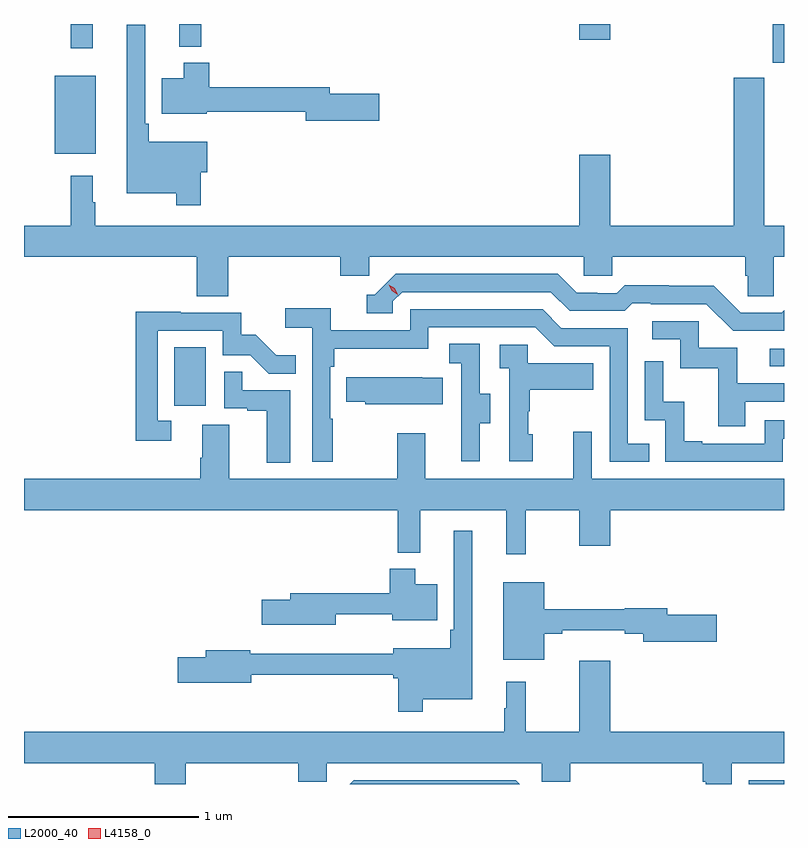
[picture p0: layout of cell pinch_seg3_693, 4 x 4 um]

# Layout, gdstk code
import gdstk
lib = gdstk.Library(unit=1e-6, precision=1e-09)
def R(c, l, rs):  # rectangles x0, y0, x1, y1
    for r in rs: c.add(gdstk.rectangle(r[:2], r[2:], *l))
def P(c, l, *ps):  # polygons
    for p in ps: c.add(gdstk.Polygon(p, *l))
L2000_40 = (2000, 40)
L4158_0 = (4158, 0)

pinch_seg3_693 = lib.new_cell('pinch_seg3_693')
R(pinch_seg3_693, L2000_40, [(1100.964,679.494,1101.15,679.515), (1097.942,681.486,1098.106,681.793), (1101.075,681.693,1101.15,681.786), (1097.312,682.811,1097.527,683.221), (1101.092,683.291,1101.15,683.494), (1097.395,683.367,1097.513,683.494), (1097.966,683.375,1098.083,683.494), (1100.072,683.412,1100.236,683.494)])
P(pinch_seg3_693, L2000_40, [(1098.08,682.715),(1098.115,682.715),(1098.115,682.873),(1097.807,682.873),(1097.807,682.969),(1097.787,682.969),(1097.787,683.491),(1097.69,683.491),(1097.69,682.604),(1097.952,682.604),(1097.952,682.539),(1098.08,682.539)],
  [(1099.021,683.127),(1098.76,683.127),(1098.76,683.161),(1098.125,683.161),(1098.125,683.29),(1097.99,683.29),(1097.99,683.209),(1097.876,683.209),(1097.876,683.021),(1098.112,683.021),(1098.112,683.032),(1098.632,683.032),(1098.632,682.985),(1099.021,682.985)],
  [(1098.224,682.268),(1098.815,682.268),(1098.815,682.17),(1098.966,682.17),(1098.966,682.268),(1100.097,682.268),(1100.097,682.17),(1100.247,682.17),(1100.247,682.268),(1100.945,682.268),(1100.945,682.17),(1100.959,682.17),(1100.959,682.06),(1101.096,682.06),(1101.096,682.268),(1101.15,682.268),(1101.15,682.432),(1101.045,682.432),(1101.045,683.212),(1100.885,683.212),(1100.885,682.432),(1100.236,682.432),(1100.236,682.807),(1100.072,682.807),(1100.072,682.432),(1097.524,682.432),(1097.524,682.556),(1097.512,682.556),(1097.512,682.696),(1097.395,682.696),(1097.395,682.432),(1097.15,682.432),(1097.15,682.268),(1098.059,682.268),(1098.059,682.06),(1098.224,682.06)],
  [(1101.15,681.987),(1101.138,681.975),(1100.922,681.975),(1100.78,682.117),(1100.544,682.117),(1100.544,682.12),(1100.311,682.12),(1100.269,682.077),(1100.166,682.077),(1100.166,682.08),(1100.059,682.08),(1099.96,682.179),(1099.107,682.179),(1098.996,682.068),(1098.953,682.068),(1098.953,681.972),(1099.092,681.972),(1099.092,682.035),(1099.14,682.083),(1099.923,682.083),(1100.022,681.984),(1100.311,681.984),(1100.35,682.023),(1100.449,682.023),(1100.449,682.02),(1100.742,682.02),(1100.883,681.879),(1101.15,681.879)],
  [(1098.775,681.416),(1098.762,681.416),(1098.762,681.689),(1098.782,681.689),(1098.782,681.785),(1099.278,681.785),(1099.278,681.897),(1099.842,681.897),(1099.941,681.798),(1100.232,681.798),(1100.232,681.189),(1100.441,681.189),(1100.441,681.285),(1100.328,681.285),(1100.328,681.894),(1099.978,681.894),(1099.879,681.993),(1099.182,681.993),(1099.182,681.882),(1098.764,681.882),(1098.764,681.998),(1098.525,681.998),(1098.525,681.896),(1098.666,681.896),(1098.666,681.189),(1098.775,681.189)],
  [(1097.926,681.405),(1097.853,681.405),(1097.853,681.879),(1098.195,681.879),(1098.195,681.75),(1098.34,681.75),(1098.438,681.652),(1098.581,681.652),(1098.581,681.751),(1098.477,681.751),(1098.37,681.858),(1098.294,681.858),(1098.294,681.975),(1097.975,681.975),(1097.975,681.98),(1097.737,681.98),(1097.737,681.3),(1097.926,681.3)],
  [(1100.947,681.507),(1101.15,681.507),(1101.15,681.603),(1100.905,681.603),(1100.905,681.789),(1100.7,681.789),(1100.7,681.93),(1100.457,681.93),(1100.457,681.834),(1100.604,681.834),(1100.604,681.681),(1100.803,681.681),(1100.803,681.378),(1100.947,681.378)],
  [(1099.549,681.394),(1099.603,681.394),(1099.603,681.549),(1099.548,681.549),(1099.548,681.812),(1099.389,681.812),(1099.389,681.709),(1099.452,681.709),(1099.452,681.405),(1099.451,681.405),(1099.451,681.192),(1099.549,681.192)],
  [(1099.828,681.336),(1099.803,681.336),(1099.803,681.455),(1099.813,681.455),(1099.813,681.569),(1100.147,681.569),(1100.147,681.709),(1099.8,681.709),(1099.8,681.807),(1099.653,681.807),(1099.653,681.683),(1099.704,681.683),(1099.704,681.192),(1099.828,681.192)],
  [(1101.144,681.312),(1101.15,681.312),(1101.15,681.408),(1101.048,681.408),(1101.048,681.285),(1100.719,681.285),(1100.719,681.298),(1100.624,681.298),(1100.624,681.506),(1100.514,681.506),(1100.514,681.718),(1100.418,681.718),(1100.418,681.408),(1100.526,681.408),(1100.526,681.189),(1101.144,681.189)],
  [(1098.55,681.567),(1098.299,681.567),(1098.299,681.665),(1098.204,681.665),(1098.204,681.471),(1098.325,681.471),(1098.325,681.459),(1098.428,681.459),(1098.428,681.185),(1098.55,681.185)],
  [(1099.355,681.631),(1099.247,681.631),(1099.247,681.634),(1098.847,681.634),(1098.847,681.505),(1098.945,681.505),(1098.945,681.494),(1099.355,681.494)],
  [(1099.79,680.936),(1100.072,680.936),(1100.072,680.748),(1100.236,680.748),(1100.236,680.936),(1101.15,680.936),(1101.15,681.1),(1100.139,681.1),(1100.139,681.349),(1100.042,681.349),(1100.042,681.1),(1099.261,681.1),(1099.261,681.34),(1099.114,681.34),(1099.114,681.1),(1098.229,681.1),(1098.229,681.386),(1098.089,681.386),(1098.089,681.212),(1098.077,681.212),(1098.077,681.1),(1097.15,681.1),(1097.15,680.936),(1099.117,680.936),(1099.117,680.711),(1099.235,680.711),(1099.235,680.936),(1099.688,680.936),(1099.688,680.703),(1099.79,680.703)],
  [(1099.249,679.94),(1099.51,679.94),(1099.51,680.827),(1099.413,680.827),(1099.413,680.305),(1099.393,680.305),(1099.393,680.209),(1099.094,680.209),(1099.094,680.18),(1098.886,680.18),(1098.886,680.179),(1098.342,680.179),(1098.342,680.198),(1098.107,680.198),(1098.107,680.162),(1097.958,680.162),(1097.958,680.027),(1098.346,680.027),(1098.346,680.07),(1099.094,680.07),(1099.094,680.051),(1099.12,680.051),(1099.12,679.875),(1099.249,679.875)],
  [(1098.79,680.387),(1099.088,680.387),(1099.088,680.357),(1099.324,680.357),(1099.324,680.545),(1099.21,680.545),(1099.21,680.626),(1099.076,680.626),(1099.076,680.497),(1098.551,680.497),(1098.551,680.463),(1098.402,680.463),(1098.402,680.333),(1098.79,680.333)],
  [(1099.888,680.284),(1099.984,680.284),(1099.984,680.303),(1100.312,680.303),(1100.312,680.284),(1100.408,680.284),(1100.408,680.242),(1100.797,680.242),(1100.797,680.384),(1100.536,680.384),(1100.536,680.42),(1100.312,680.42),(1100.312,680.413),(1099.888,680.413),(1099.888,680.557),(1099.673,680.557),(1099.673,680.147),(1099.888,680.147)],
  [(1098.002,679.604),(1098.593,679.604),(1098.593,679.506),(1098.744,679.506),(1098.744,679.604),(1099.875,679.604),(1099.875,679.506),(1100.025,679.506),(1100.025,679.604),(1100.723,679.604),(1100.723,679.506),(1100.737,679.506),(1100.737,679.494),(1100.874,679.494),(1100.874,679.604),(1101.15,679.604),(1101.15,679.768),(1100.236,679.768),(1100.236,680.143),(1100.072,680.143),(1100.072,679.768),(1099.79,679.768),(1099.79,680.032),(1099.688,680.032),(1099.688,679.892),(1099.677,679.892),(1099.677,679.768),(1097.15,679.768),(1097.15,679.604),(1097.837,679.604),(1097.837,679.494),(1098.002,679.494)],
  [(1099.738,679.515),(1098.885,679.515),(1098.864,679.494),(1099.759,679.494)])
P(pinch_seg3_693, L4158_0, [(1099.116,682.07),(1099.086,682.089),(1099.069,682.121),(1099.069,682.121),(1099.069,682.121),(1099.1,682.102),(1099.117,682.07),(1099.117,682.07)])

lib.write_gds('pinch_seg3_693.gds')
